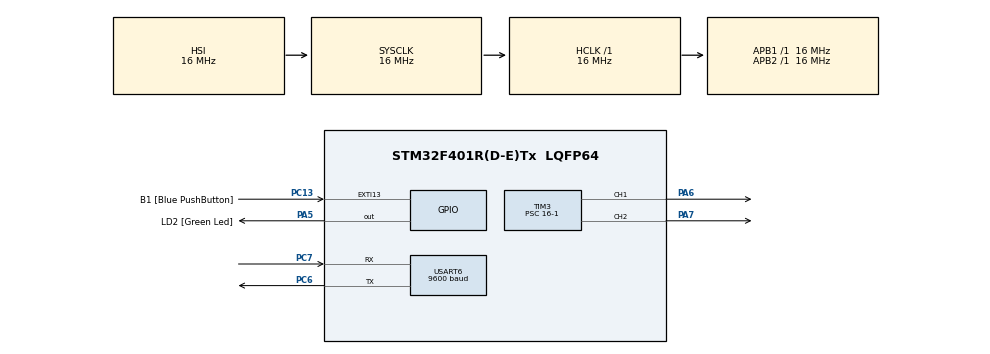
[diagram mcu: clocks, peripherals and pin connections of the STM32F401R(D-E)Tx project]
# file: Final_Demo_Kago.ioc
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Mcu.Family=STM32F4
Mcu.Name=STM32F401R(D-E)Tx
Mcu.Package=LQFP64
NVIC.PriorityGroup=NVIC_PRIORITYGROUP_0
NVIC.USART6_IRQn=true\:0\:0\:false\:false\:true\:true\:true\:true
PA1.Signal=ADCx_IN1
PA13.GPIO_Label=TMS
PA13.Mode=Serial_Wire
PA13.Signal=SYS_JTMS-SWDIO
PA14.GPIO_Label=TCK
PA14.Mode=Serial_Wire
PA14.Signal=SYS_JTCK-SWCLK
PA2.GPIO_Label=USART_TX
PA2.GPIO_Mode=GPIO_MODE_AF_PP
PA2.GPIO_PuPd=GPIO_NOPULL
PA2.GPIO_Speed=GPIO_SPEED_FREQ_LOW
PA2.Signal=USART2_TX
PA3.GPIO_Label=USART_RX
PA3.GPIO_Mode=GPIO_MODE_AF_PP
PA3.GPIO_PuPd=GPIO_NOPULL
PA3.GPIO_Speed=GPIO_SPEED_FREQ_LOW
PA3.Signal=USART2_RX
PA5.GPIO_Label=LD2 [Green Led]
PA5.GPIO_Mode=GPIO_MODE_OUTPUT_PP
PA5.GPIO_PuPd=GPIO_NOPULL
PA5.GPIO_Speed=GPIO_SPEED_FREQ_LOW
PA5.Signal=GPIO_Output
PA6.Signal=S_TIM3_CH1
PA7.Signal=S_TIM3_CH2
PB3.GPIO_Label=SWO
PB3.Signal=SYS_JTDO-SWO
PC13-ANTI_TAMP.GPIO_Label=B1 [Blue PushButton]
PC13-ANTI_TAMP.GPIO_ModeDefaultEXTI=GPIO_MODE_IT_FALLING
PC13-ANTI_TAMP.GPIO_PuPd=GPIO_NOPULL
PC13-ANTI_TAMP.Signal=GPXTI13
PC14-OSC32_IN.Mode=LSE-External-Oscillator
PC14-OSC32_IN.Signal=RCC_OSC32_IN
PC15-OSC32_OUT.Mode=LSE-External-Oscillator
PC15-OSC32_OUT.Signal=RCC_OSC32_OUT
PC6.Mode=Asynchronous
PC6.Signal=USART6_TX
PC7.Mode=Asynchronous
PC7.Signal=USART6_RX
PH0\ -\ OSC_IN.Mode=HSE-External-Clock-Source
PH0\ -\ OSC_IN.Signal=RCC_OSC_IN
PH1\ -\ OSC_OUT.Mode=HSE-External-Clock-Source
PH1\ -\ OSC_OUT.Signal=RCC_OSC_OUT
ProjectManager.HeapSize=0x200
ProjectManager.StackSize=0x400
ProjectManager.TargetToolchain=STM32CubeIDE
RCC.48MHZClocksFreq_Value=48000000
RCC.AHBFreq_Value=16000000
RCC.APB1Freq_Value=16000000
RCC.APB1TimFreq_Value=16000000
RCC.APB2Freq_Value=16000000
RCC.APB2TimFreq_Value=16000000
RCC.CortexFreq_Value=16000000
RCC.HCLKFreq_Value=16000000
RCC.HSE_VALUE=8000000
RCC.HSI_VALUE=16000000
RCC.PLLN=336
RCC.PLLP=RCC_PLLP_DIV4
RCC.PLLQ=7
RCC.SYSCLKFreq_VALUE=16000000
RCC.VCOOutputFreq_Value=336000000
SH.ADCx_IN1.0=ADC1_IN1
SH.S_TIM3_CH1.0=TIM3_CH1,PWM Generation1 CH1
SH.S_TIM3_CH2.0=TIM3_CH2,PWM Generation2 CH2
TIM3.Channel-PWM\ Generation1\ CH1=TIM_CHANNEL_1
TIM3.Channel-PWM\ Generation2\ CH2=TIM_CHANNEL_2
TIM3.Prescaler=16-1
USART6.BaudRate=9600
USART6.VirtualMode=VM_ASYNC
board=NUCLEO-F401RE

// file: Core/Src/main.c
/* USER CODE BEGIN Header */
/**
  ******************************************************************************
  * @file           : main.c
  * @brief          : Main program body
  ******************************************************************************
  * @attention
  *
  * Copyright (c) 2024 STMicroelectronics.
  * All rights reserved.
  *
  * This software is licensed under terms that can be found in the LICENSE file
  * in the root directory of this software component.
  * If no LICENSE file comes with this software, it is provided AS-IS.
  *
  ******************************************************************************
  */
/* USER CODE END Header */
#include "main.h"

/* USER CODE BEGIN PD */
#define BUFFER_SIZE 128
/* USER CODE END PD */

TIM_HandleTypeDef htim3;

UART_HandleTypeDef huart6;

/* USER CODE BEGIN PV */
char buffer[BUFFER_SIZE];
volatile int buffer_index = 0;
uint8_t rx_data;
volatile uint8_t rcv_intpt_flag = 0;
/* USER CODE END PV */

void SystemClock_Config(void);
static void MX_GPIO_Init(void);
static void MX_USART6_UART_Init(void);
static void MX_TIM3_Init(void);
/* USER CODE BEGIN PFP */
void handle_setup_mode(void);
void prompt_and_receive(const char *prompt, int *value);
/* USER CODE END PFP */

/* USER CODE BEGIN 0 */
void HAL_UART_RxCpltCallback(UART_HandleTypeDef *huart)
{
  if (huart->Instance == USART6)
  {
    if (rx_data == '\r')
    {
      buffer[buffer_index] = '\0';
      rcv_intpt_flag = 1;
      buffer_index = 0; // Reset buffer index for next input
      HAL_UART_Transmit(&huart6, (uint8_t *)"\r\n", 2, HAL_MAX_DELAY); // Echo newline
    }
    else
    {
      buffer[buffer_index++] = rx_data;
      HAL_UART_Transmit(&huart6, &rx_data, 1, HAL_MAX_DELAY); // Echo the received character
    }
    HAL_UART_Receive_IT(&huart6, &rx_data, 1);
  }
}

void handle_setup_mode(void)
{
  char response[BUFFER_SIZE];
  int inlet_pwm, zone1_pwm, zone2_pwm, zone3_pwm;
  int current_time, inlet_start, inlet_stop, zone1_start, zone1_stop, zone2_start, zone2_stop, zone3_start, zone3_stop;

  snprintf(response, BUFFER_SIZE, "SETUP MODE\r\n");
  HAL_UART_Transmit(&huart6, (uint8_t *)response, strlen(response), HAL_MAX_DELAY);
  snprintf(response, BUFFER_SIZE, "0 - MANUAL, 1 - 60% PWM, 2 - 80% PWM, 3 - 99% PWM\r\n");
    HAL_UART_Transmit(&huart6, (uint8_t *)response, strlen(response), HAL_MAX_DELAY);

  	prompt_and_receive("Enter Inlet Motor Speed PWM (0-3): ", &inlet_pwm);
	prompt_and_receive("Enter Zone 1 Motor Speed PWM (0-3): ", &zone1_pwm);
	prompt_and_receive("Enter Zone 2 Motor Speed PWM (0-3): ", &zone2_pwm);
	prompt_and_receive("Enter Zone 3 Motor Speed PWM (0-3): ", &zone3_pwm);

	snprintf(response, BUFFER_SIZE, "\n0 - 12AM, 1 - 1AM, ... , 22 - 10PM, 23 - 11PM\r\n");
	    HAL_UART_Transmit(&huart6, (uint8_t *)response, strlen(response), HAL_MAX_DELAY);
	prompt_and_receive("Enter Current Wall Clock Time (00-23): ", &current_time);
	prompt_and_receive("Enter Inlet Wall Clock Start Time (00-23): ", &inlet_start);
	prompt_and_receive("Enter Inlet Wall Clock Stop Time (00-23): ", &inlet_stop);
	prompt_and_receive("Enter Zone 1 Wall Clock Start Time (00-23): ", &zone1_start);
	prompt_and_receive("Enter Zone 1 Wall Clock Stop Time (00-23): ", &zone1_stop);
	prompt_and_receive("Enter Zone 2 Wall Clock Start Time (00-23): ", &zone2_start);
	prompt_and_receive("Enter Zone 2 Wall Clock Stop Time (00-23): ", &zone2_stop);
	prompt_and_receive("Enter Zone 3 Wall Clock Start Time (00-23): ", &zone3_start);
	prompt_and_receive("Enter Zone 3 Wall Clock Stop Time (00-23): ", &zone3_stop);

//  snprintf(response, BUFFER_SIZE, "Configuration Completed:\r\nInlet PWM: %d\r\nZone 1 PWM: %d\r\nZone 2 PWM: %d\r\nZone 3 PWM: %d\r\nCurrent Time: %d\r\nInlet Start: %d\r\nInlet Stop: %d\r\nZone 1 Start: %d\r\nZone 1 Stop: %d\r\nZone 2 Start: %d\r\nZone 2 Stop: %d\r\nZone 3 Start: %d\r\nZone 3 Stop: %d\r\n",
//           inlet_pwm, zone1_pwm, zone2_pwm, zone3_pwm, current_time, inlet_start, inlet_stop, zone1_start, zone1_stop, zone2_start, zone2_stop, zone3_start, zone3_stop);
//  HAL_UART_Transmit(&huart6, (uint8_t *)response, strlen(response), HAL_MAX_DELAY);
}

void prompt_and_receive(const char *prompt, int *value)
{
  char response[BUFFER_SIZE];

  HAL_UART_Transmit(&huart6, (uint8_t *)prompt, strlen(prompt), HAL_MAX_DELAY);
  rcv_intpt_flag = 0;
  while (!rcv_intpt_flag); // Wait for input
  sscanf(buffer, "%d", value);
//  snprintf(response, BUFFER_SIZE, "Received: %d\r\n", *value);
//  HAL_UART_Transmit(&huart6, (uint8_t *)response, strlen(response), HAL_MAX_DELAY);
}

/* USER CODE END 0 */

int main(void)
{

  /* MCU Configuration--------------------------------------------------------*/

  /* Reset of all peripherals, Initializes the Flash interface and the Systick. */
  HAL_Init();

  /* Configure the system clock */
  SystemClock_Config();

  /* Initialize all configured peripherals */
  MX_GPIO_Init();
  MX_USART6_UART_Init();
  MX_TIM3_Init();
  /* USER CODE BEGIN 2 */

  // Turn off the green LED (PA5) at startup
  HAL_GPIO_WritePin(GPIOA, GPIO_PIN_5, GPIO_PIN_RESET);

  // clear the terminal
  const char clear_screen[] = "\x1b[2J\x1b[H";
  HAL_UART_Transmit(&huart6, (uint8_t *)clear_screen, strlen(clear_screen), HAL_MAX_DELAY);

  // Start receiving data via interrupt
  HAL_UART_Receive_IT(&huart6, &rx_data, 1);

  // Indicate entering setup mode
  handle_setup_mode();

  // Flash led green after recieved all input

  // wait for blue button to be

//  while (!b1_pressed) {
//	  HAL_Delay(100);
//  }

  /* USER CODE END 2 */

  /* Infinite loop */
  /* USER CODE BEGIN WHILE */
  while (1)
  {
    // Main loop does nothing, everything is handled in interrupt
    /* USER CODE END WHILE */

  }
}

void SystemClock_Config(void)
{
  RCC_OscInitTypeDef RCC_OscInitStruct = {0};
  RCC_ClkInitTypeDef RCC_ClkInitStruct = {0};

  /** Configure the main internal regulator output voltage
  */
  __HAL_RCC_PWR_CLK_ENABLE();
  __HAL_PWR_VOLTAGESCALING_CONFIG(PWR_REGULATOR_VOLTAGE_SCALE2);

  /** Initializes the RCC Oscillators according to the specified parameters
  * in the RCC_OscInitTypeDef structure.
  */
  RCC_OscInitStruct.OscillatorType = RCC_OSCILLATORTYPE_HSI;
  RCC_OscInitStruct.HSIState = RCC_HSI_ON;
  RCC_OscInitStruct.HSICalibrationValue = RCC_HSICALIBRATION_DEFAULT;
  RCC_OscInitStruct.PLL.PLLState = RCC_PLL_NONE;
  if (HAL_RCC_OscConfig(&RCC_OscInitStruct) != HAL_OK)
  {
    Error_Handler();
  }

  /** Initializes the CPU, AHB and APB buses clocks
  */
  RCC_ClkInitStruct.ClockType = RCC_CLOCKTYPE_HCLK|RCC_CLOCKTYPE_SYSCLK
                              |RCC_CLOCKTYPE_PCLK1|RCC_CLOCKTYPE_PCLK2;
  RCC_ClkInitStruct.SYSCLKSource = RCC_SYSCLKSOURCE_HSI;
  RCC_ClkInitStruct.AHBCLKDivider = RCC_SYSCLK_DIV1;
  RCC_ClkInitStruct.APB1CLKDivider = RCC_HCLK_DIV1;
  RCC_ClkInitStruct.APB2CLKDivider = RCC_HCLK_DIV1;

  if (HAL_RCC_ClockConfig(&RCC_ClkInitStruct, FLASH_LATENCY_0) != HAL_OK)
  {
    Error_Handler();
  }
}

static void MX_TIM3_Init(void)
{

  TIM_MasterConfigTypeDef sMasterConfig = {0};
  TIM_OC_InitTypeDef sConfigOC = {0};

  htim3.Instance = TIM3;
  htim3.Init.Prescaler = 16-1;
  htim3.Init.CounterMode = TIM_COUNTERMODE_UP;
  htim3.Init.Period = 65535;
  htim3.Init.ClockDivision = TIM_CLOCKDIVISION_DIV1;
  htim3.Init.AutoReloadPreload = TIM_AUTORELOAD_PRELOAD_DISABLE;
  if (HAL_TIM_PWM_Init(&htim3) != HAL_OK)
  {
    Error_Handler();
  }
  sMasterConfig.MasterOutputTrigger = TIM_TRGO_RESET;
  sMasterConfig.MasterSlaveMode = TIM_MASTERSLAVEMODE_DISABLE;
  if (HAL_TIMEx_MasterConfigSynchronization(&htim3, &sMasterConfig) != HAL_OK)
  {
    Error_Handler();
  }
  sConfigOC.OCMode = TIM_OCMODE_PWM1;
  sConfigOC.Pulse = 0;
  sConfigOC.OCPolarity = TIM_OCPOLARITY_HIGH;
  sConfigOC.OCFastMode = TIM_OCFAST_DISABLE;
  if (HAL_TIM_PWM_ConfigChannel(&htim3, &sConfigOC, TIM_CHANNEL_1) != HAL_OK)
  {
    Error_Handler();
  }
  if (HAL_TIM_PWM_ConfigChannel(&htim3, &sConfigOC, TIM_CHANNEL_2) != HAL_OK)
  {
    Error_Handler();
  }
  HAL_TIM_MspPostInit(&htim3);

}

static void MX_USART6_UART_Init(void)
{

  huart6.Instance = USART6;
  huart6.Init.BaudRate = 9600;
  huart6.Init.WordLength = UART_WORDLENGTH_8B;
  huart6.Init.StopBits = UART_STOPBITS_1;
  huart6.Init.Parity = UART_PARITY_NONE;
  huart6.Init.Mode = UART_MODE_TX_RX;
  huart6.Init.HwFlowCtl = UART_HWCONTROL_NONE;
  huart6.Init.OverSampling = UART_OVERSAMPLING_16;
  if (HAL_UART_Init(&huart6) != HAL_OK)
  {
    Error_Handler();
  }

}

static void MX_GPIO_Init(void)
{
  GPIO_InitTypeDef GPIO_InitStruct = {0};

  /* GPIO Ports Clock Enable */
  __HAL_RCC_GPIOC_CLK_ENABLE();
  __HAL_RCC_GPIOH_CLK_ENABLE();
  __HAL_RCC_GPIOA_CLK_ENABLE();
  __HAL_RCC_GPIOB_CLK_ENABLE();

  /*Configure GPIO pin Output Level */
  HAL_GPIO_WritePin(LD2_GPIO_Port, LD2_Pin, GPIO_PIN_RESET);

  /*Configure GPIO pin : B1_Pin */
  GPIO_InitStruct.Pin = B1_Pin;
  GPIO_InitStruct.Mode = GPIO_MODE_IT_FALLING;
  GPIO_InitStruct.Pull = GPIO_NOPULL;
  HAL_GPIO_Init(B1_GPIO_Port, &GPIO_InitStruct);

  /*Configure GPIO pin : PA1 */
  GPIO_InitStruct.Pin = GPIO_PIN_1;
  GPIO_InitStruct.Mode = GPIO_MODE_ANALOG;
  GPIO_InitStruct.Pull = GPIO_NOPULL;
  HAL_GPIO_Init(GPIOA, &GPIO_InitStruct);

  /*Configure GPIO pins : USART_TX_Pin USART_RX_Pin */
  GPIO_InitStruct.Pin = USART_TX_Pin|USART_RX_Pin;
  GPIO_InitStruct.Mode = GPIO_MODE_AF_PP;
  GPIO_InitStruct.Pull = GPIO_NOPULL;
  GPIO_InitStruct.Speed = GPIO_SPEED_FREQ_LOW;
  GPIO_InitStruct.Alternate = GPIO_AF7_USART2;
  HAL_GPIO_Init(GPIOA, &GPIO_InitStruct);

  /*Configure GPIO pin : LD2_Pin */
  GPIO_InitStruct.Pin = LD2_Pin;
  GPIO_InitStruct.Mode = GPIO_MODE_OUTPUT_PP;
  GPIO_InitStruct.Pull = GPIO_NOPULL;
  GPIO_InitStruct.Speed = GPIO_SPEED_FREQ_LOW;
  HAL_GPIO_Init(LD2_GPIO_Port, &GPIO_InitStruct);

}

void Error_Handler(void)
{
  __disable_irq();
  while (1)
  {
  }
}
